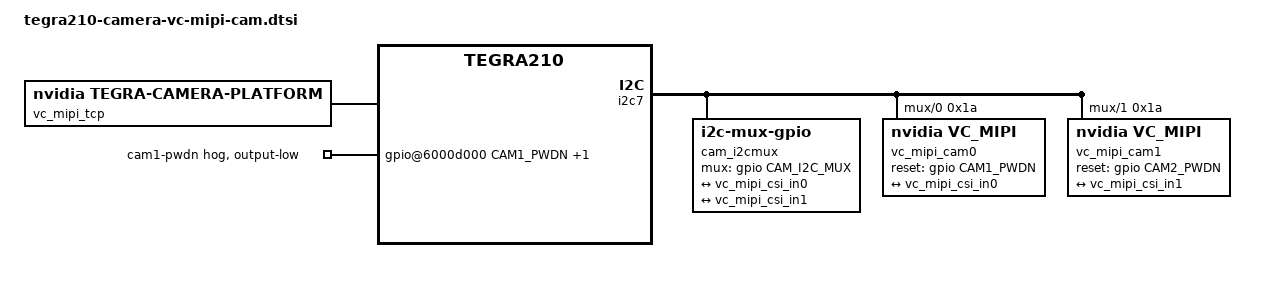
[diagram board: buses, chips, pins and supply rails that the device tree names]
/*
 * Copyright (c) 2018-2019, NVIDIA CORPORATION.  All rights reserved.
 *
 * This program is free software; you can redistribute it and/or modify
 * it under the terms of the GNU General Public License as published by
 * the Free Software Foundation; either version 2 of the License, or
 * (at your option) any later version.
 *
 * This program is distributed in the hope that it will be useful, but WITHOUT
 * ANY WARRANTY; without even the implied warranty of MERCHANTABILITY or
 * FITNESS FOR A PARTICULAR PURPOSE.  See the GNU General Public License for
 * more details.
 *
 * You should have received a copy of the GNU General Public License
 * along with this program.  If not, see <http://www.gnu.org/licenses/>.
 */

#include <dt-bindings/media/camera.h>
#include <dt-bindings/platform/t210/t210.h>

// ------------------------------------------------------------------------------------------------
//  Driver Configuration
// ------------------------------------------------------------------------------------------------
#define VC_MIPI_CAM_0       1   // 0: Disabled, 1: Enabled
#define VC_MIPI_CAM_1       1   // 0: Disabled, 1: Enabled
#define VC_MIPI_LANES       2   // 1, 2 Lanes
#define VC_MIPI_OMNI_VISION 0   // 0: Sony Sensor, 1: Omni Vision Sensor
// ------------------------------------------------------------------------------------------------

#if VC_MIPI_LANES == 1
    #define BUS_WIDTH 1
    #define NUM_LANES "1" 
    #define NUM_CSI_LANES 2
#endif
#if VC_MIPI_LANES == 2
    #define BUS_WIDTH 2
    #define NUM_LANES "2" 
    #define NUM_CSI_LANES 4
#endif

#if VC_MIPI_CAM_0 == 1 && VC_MIPI_CAM_1 == 1
    #define VC_MIPI_CAMERAS 2
#else
    #define VC_MIPI_CAMERAS 1
#endif

/ {
    host1x {
        vc_mipi_vi_base: vi {
            num-channels = <VC_MIPI_CAMERAS>;
            #address-cells = <1>;
            #size-cells = <0>;
            ports {
                #address-cells = <1>;
                #size-cells = <0>;
#if VC_MIPI_CAM_0 == 1
                vc_mipi_vi_port0: port@0 {
                    reg = <0>;
                    vc_mipi_vi_in0: endpoint {
                        port-index = <0>;
                        bus-width = <BUS_WIDTH>;
                        remote-endpoint = <&vc_mipi_csi_out0>;
                    };
                };
#endif
#if VC_MIPI_CAM_1 == 1
                vc_mipi_vi_port1: port@1 {
                    reg = <1>;
                    vc_mipi_vi_in1: endpoint {
                        port-index = <4>;
                        bus-width = <BUS_WIDTH>;
                        remote-endpoint = <&vc_mipi_csi_out1>;
                    };
                };
#endif
            };
        };

        vc_mipi_csi_base: nvcsi {
            num-channels = <VC_MIPI_CAMERAS>;
            #address-cells = <1>;
            #size-cells = <0>;
#if VC_MIPI_CAM_0 == 1
            vc_mipi_csi_chan0: channel@0 {
                reg = <0>;
                ports {
                    #address-cells = <1>;
                    #size-cells = <0>;
                    vc_mipi_csi_chan0_port0: port@0 {
                        reg = <0>;
                        vc_mipi_csi_in0: endpoint@0 {
                            port-index = <0>;
                            bus-width = <BUS_WIDTH>;
                            remote-endpoint = <&vc_mipi_out0>;
                        };
                    };
                    vc_mipi_csi_chan0_port1: port@1 {
                        reg = <1>;
                        vc_mipi_csi_out0: endpoint@1 {
                            remote-endpoint = <&vc_mipi_vi_in0>;
                        };
                    };
                };
            };
#endif
#if VC_MIPI_CAM_1 == 1
            vc_mipi_csi_chan1: channel@1 {
                reg = <1>;
                ports {
                    #address-cells = <1>;
                    #size-cells = <0>;
                    vc_mipi_csi_chan1_port0: port@2 {
                        reg = <0>;
                        vc_mipi_csi_in1: endpoint@2 {
                            port-index = <4>;
                            bus-width = <BUS_WIDTH>;
                            remote-endpoint = <&vc_mipi_out1>;
                        };
                    };
                    vc_mipi_csi_chan1_port1: port@3 {
                        reg = <1>;
                        vc_mipi_csi_out1: endpoint@3 {
                            remote-endpoint = <&vc_mipi_vi_in1>;
                        };
                    };
                };
            };
#endif
        };
    };

    cam_i2cmux {
#if VC_MIPI_CAM_0 == 1
        vc_mipi_i2c_0: i2c@0 {
#if VC_MIPI_OMNI_VISION == 1
            vc_mipi_cam0: vc_mipi@60 {
                reg                     = <0x60>;
#else
            vc_mipi_cam0: vc_mipi@1a {
                reg                     = <0x1a>;
#endif
                compatible              = "nvidia,vc_mipi";
                devnode                 = "video0";
                use_sensor_mode_id      = "false";

                num_lanes               = NUM_LANES;
                trigger_mode            = "0";
                flash_mode              = "0";

                // This settings are needed by the Tegra framework. 
                // They are used to calculate lens distortion
                sensor_model            = "vc_mipi";
                physical_w              = "3.680";
                physical_h              = "2.760";

                // This node is needed by the Tegra framework.
                // All properties are set by the driver on runtime.
                //
                // If you want to use the GStreamer with nvarguscamerasrc
                // you have to adjust following settings:
                //   - pix_clk_hz
                //   - active_w, active_h, line_length
                //   - pixel_t
                mode0 {
                    num_lanes                = NUM_LANES;
                    tegra_sinterface         = "serial_a";
                    phy_mode                 = "DPHY";

                    discontinuous_clk        = "no";
                    mclk_khz                 = "24000";
                    pix_clk_hz               = "800000000";
                    cil_settletime           = "0";

                    dpcm_enable              = "false";
                    mclk_multiplier          = "9.33";

                    inherent_gain            = "1";
                    min_hdr_ratio            = "1";
                    max_hdr_ratio            = "1";
                    readout_orientation      = "0";

                    active_w                 = "1000";
                    active_h                 = "1000";
                    line_length              = "1000";
                    pixel_t                  = "bayer_rggb";

                    gain_factor              = "1";
                    min_gain_val             = "0";
                    max_gain_val             = "100000";
                    step_gain_val            = "1";
                    default_gain             = "0";

                    exposure_factor          = "1";
                    min_exp_time             = "1";
                    max_exp_time             = "100000000";
                    step_exp_time            = "1";
                    default_exp_time         = "10000";

                    framerate_factor         = "1";
                    min_framerate            = "0";
                    max_framerate            = "1000";
                    step_framerate           = "1";
                    default_framerate        = "1000";

                    embedded_metadata_height = "0";
                };

                ports {
                    #address-cells = <1>;
                    #size-cells = <0>;

                    port@0 {
                        reg = <0>;
                        vc_mipi_out0: endpoint {
                            port-index = <0>;
                            bus-width = <BUS_WIDTH>;
                            remote-endpoint = <&vc_mipi_csi_in0>;
                        };
                    };
                };
            };
        };
#endif
#if VC_MIPI_CAM_1 == 1
        vc_mipi_i2c_1: i2c@1 {
#if VC_MIPI_OMNI_VISION == 1
            vc_mipi_cam1: vc_mipi@60 {
                reg                     = <0x60>;
#else
            vc_mipi_cam1: vc_mipi@1a {
                reg                     = <0x1a>;
#endif
                compatible              = "nvidia,vc_mipi";              
                devnode                 = "video1";
                use_sensor_mode_id      = "false";
                num_lanes               = NUM_LANES;
                trigger_mode            = "0";
                flash_mode              = "0";
                
                // This node is needed by the Tegra framework. 
                // All properties are set by the driver on runtime.
                mode0 { 
                    num_lanes                = NUM_LANES;
                    tegra_sinterface         = "serial_c";
                    phy_mode                 = "DPHY";

                    discontinuous_clk        = "no";
                    mclk_khz                 = "24000";
                    pix_clk_hz               = "800000000";
                    cil_settletime           = "0";

                    mclk_multiplier          = "9.33";
                    dpcm_enable              = "false";

                    inherent_gain            = "1";
                    min_hdr_ratio            = "1";
                    max_hdr_ratio            = "1";
                    readout_orientation      = "0";

                    active_w                 = "1000";
                    active_h                 = "1000";
                    line_length              = "1000";
                    pixel_t                  = "bayer_rggb";

                    gain_factor              = "1";
                    min_gain_val             = "0";
                    max_gain_val             = "100000";
                    step_gain_val            = "1";
                    default_gain             = "0";

                    exposure_factor          = "1";
                    min_exp_time             = "0";
                    max_exp_time             = "100000000";
                    step_exp_time            = "1";
                    default_exp_time         = "10000";

                    framerate_factor         = "1";
                    min_framerate            = "0";
                    max_framerate            = "1000";
                    step_framerate           = "1";
                    default_framerate        = "1000";

                    embedded_metadata_height = "0";
                };

                ports {
                    #address-cells = <1>;
                    #size-cells = <0>;

                    port@0 {
                        reg = <0>;
                        vc_mipi_out1: endpoint {
                            port-index = <2>;
                            bus-width = <BUS_WIDTH>;
                            remote-endpoint = <&vc_mipi_csi_in1>;
                        };
                    };
                };
            };
        };
#endif
    };

    lens_vc_mipi@RBPCV2 {
        min_focus_distance  = "0.0";
        hyper_focal         = "0.0";
        focal_length        = "1.0";
        f_number            = "2.0";
        aperture            = "0.0";
    };
};

/ {
    vc_mipi_tcp: tegra-camera-platform {
        compatible = "nvidia, tegra-camera-platform";

        num_csi_lanes = <NUM_CSI_LANES>;
        max_lane_speed = <1500000>;
        min_bits_per_pixel = <10>;
        vi_peak_byte_per_pixel = <2>;
        vi_bw_margin_pct = <25>;
        max_pixel_rate = <240000>;
        isp_peak_byte_per_pixel = <5>;
        isp_bw_margin_pct = <25>;

        /**
         * The general guideline for naming badge_info contains 3 parts, and is as follows,
         * The first part is the camera_board_id for the module; if the module is in a FFD
         * platform, then use the platform name for this part.
         * The second part contains the position of the module, ex. "rear" or "front".
         * The third part contains the last 6 characters of a part number which is found
         * in the module's specsheet from the vendor.
         */
        modules {
#if VC_MIPI_CAM_0 == 1
            vc_mipi_cam_module0: module0 {
                status = "okay";
                badge = "porg_front_RBPCV2";
                position = "front";
                orientation = "1";
                vc_mipi_cam_module0_drivernode0: drivernode0 {
                    status = "okay";
                    pcl_id = "v4l2_sensor";
#if VC_MIPI_OMNI_VISION == 1
                    devname = "vc_mipi 7-0060";
                    proc-device-tree = "/proc/device-tree/cam_i2cmux/i2c@0/vc_mipi@60";
#else
                    devname = "vc_mipi 7-001a";
                    proc-device-tree = "/proc/device-tree/cam_i2cmux/i2c@0/vc_mipi@1a";
#endif
                };
                vc_mipi_cam_module0_drivernode1: drivernode1 {
                    status = "okay";
                    pcl_id = "v4l2_lens";
                    proc-device-tree = "/proc/device-tree/lens_vc_mipi@RBPCV2/";
                };
            };
#endif
#if VC_MIPI_CAM_1 == 1
            vc_mipi_cam_module1: module1 {
                status = "okay";
                badge = "porg_rear_RBPCV2";
                position = "rear";
                orientation = "1";
                vc_mipi_cam_module1_drivernode0: drivernode0 {
                    status = "okay";
                    pcl_id = "v4l2_sensor";
#if VC_MIPI_OMNI_VISION == 1
                    devname = "vc_mipi 8-0060";
                    proc-device-tree = "/proc/device-tree/cam_i2cmux/i2c@1/vc_mipi@60";
#else
                    devname = "vc_mipi 8-001a";
                    proc-device-tree = "/proc/device-tree/cam_i2cmux/i2c@1/vc_mipi@1a";
#endif
                };
                vc_mipi_cam_module1_drivernode1: drivernode1 {
                    status = "okay";
                    pcl_id = "v4l2_lens";
                    proc-device-tree = "/proc/device-tree/lens_vc_mipi@RBPCV2/";
                };
            };
#endif
        };
    };
};

#define CAM1_PWDN     TEGRA_GPIO(S, 7)
#define CAM2_PWDN     TEGRA_GPIO(T, 0)
#define CAM_I2C_MUX   TEGRA_GPIO(I, 0)

/ {
    cam_i2cmux {
        status = "okay";
        compatible = "i2c-mux-gpio";
        #address-cells = <1>;
        #size-cells = <0>;
        mux-gpios = <&gpio CAM_I2C_MUX GPIO_ACTIVE_HIGH>;
        i2c-parent = <&i2c7>;
#if VC_MIPI_CAM_0 == 1
        i2c@0 {
            status = "okay";
            reg = <0>;
            #address-cells = <1>;
            #size-cells = <0>;
#if VC_MIPI_OMNI_VISION == 1
            vc_mipi@60 {
#else
            vc_mipi@1a {
#endif
                status = "okay";
                reset-gpios = <&gpio CAM1_PWDN GPIO_ACTIVE_HIGH>;
            };
        };
#endif
#if VC_MIPI_CAM_1 == 1
        i2c@1 {
            status = "okay";
            reg = <1>;
            #address-cells = <1>;
            #size-cells = <0>;
#if VC_MIPI_OMNI_VISION == 1
            vc_mipi@60 {
#else
            vc_mipi@1a {
#endif
                status = "okay";
                reset-gpios = <&gpio CAM2_PWDN GPIO_ACTIVE_HIGH>;
            };
        };
#endif
    };

    gpio@6000d000 {
        camera-control-output-low {
            gpio-hog;
            output-low;
            gpios = <CAM1_PWDN 0 CAM2_PWDN 0>;
            label = "cam1-pwdn", "cam2-pwdn";
        };
    };
};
